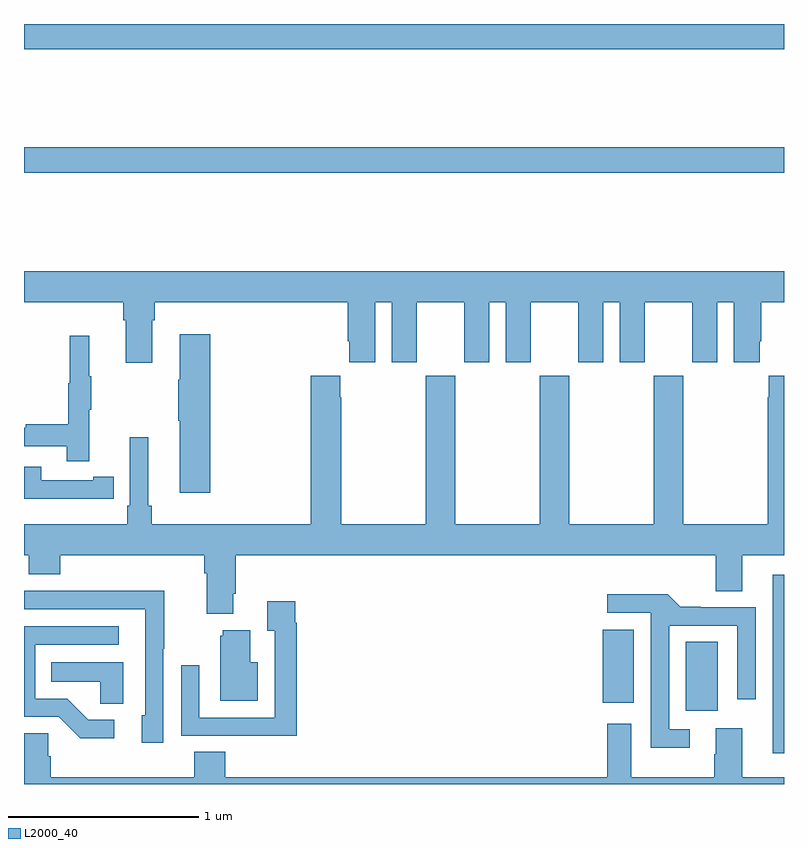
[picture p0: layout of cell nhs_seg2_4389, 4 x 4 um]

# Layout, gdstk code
import gdstk
lib = gdstk.Library(unit=1e-6, precision=1e-09)
def R(c, l, rs):  # rectangles x0, y0, x1, y1
    for r in rs: c.add(gdstk.rectangle(r[:2], r[2:], *l))
def P(c, l, *ps):  # polygons
    for p in ps: c.add(gdstk.Polygon(p, *l))
L2000_40 = (2000, 40)

nhs_seg2_4389 = lib.new_cell('nhs_seg2_4389')
R(nhs_seg2_4389, L2000_40, [(352.94,611.961,353,612.901), (352.484,612.186,352.651,612.548), (352.046,612.227,352.21,612.613), (349,615.016,353,615.152), (349,615.668,353,615.8)])
P(nhs_seg2_4389, L2000_40, [(349.675,614.24),(349.688,614.24),(349.688,614.336),(350.705,614.336),(350.705,614.131),(350.711,614.131),(350.711,614.019),(350.848,614.019),(350.848,614.336),(350.936,614.336),(350.936,614.019),(351.067,614.019),(351.067,614.336),(351.317,614.336),(351.317,614.019),(351.448,614.019),(351.448,614.336),(351.536,614.336),(351.536,614.019),(351.667,614.019),(351.667,614.336),(351.917,614.336),(351.917,614.019),(352.048,614.019),(352.048,614.336),(352.136,614.336),(352.136,614.019),(352.267,614.019),(352.267,614.336),(352.517,614.336),(352.517,614.019),(352.648,614.019),(352.648,614.336),(352.736,614.336),(352.736,614.019),(352.873,614.019),(352.873,614.131),(352.88,614.131),(352.88,614.336),(353,614.336),(353,614.5),(349,614.5),(349,614.336),(349.523,614.336),(349.523,614.24),(349.535,614.24),(349.535,614.016),(349.675,614.016)],
  [(349.979,614.167),(349.82,614.167),(349.82,613.928),(349.813,613.928),(349.813,613.711),(349.82,613.711),(349.82,613.332),(349.979,613.332)],
  [(349.343,613.771),(349.354,613.771),(349.354,613.945),(349.343,613.945),(349.343,614.158),(349.24,614.158),(349.24,613.908),(349.233,613.908),(349.233,613.694),(349.009,613.694),(349.009,613.674),(349,613.674),(349,613.578),(349.225,613.578),(349.225,613.5),(349.343,613.5)],
  [(350.101,612.802),(350.114,612.802),(350.114,613.004),(352.64,613.004),(352.64,612.814),(352.78,612.814),(352.78,613.004),(353,613.004),(353,613.948),(352.919,613.948),(352.919,613.835),(352.915,613.835),(352.915,613.168),(352.47,613.168),(352.47,613.948),(352.315,613.948),(352.315,613.168),(351.87,613.168),(351.87,613.948),(351.715,613.948),(351.715,613.168),(351.27,613.168),(351.27,613.948),(351.115,613.948),(351.115,613.168),(350.67,613.168),(350.67,613.835),(350.665,613.835),(350.665,613.948),(350.51,613.948),(350.51,613.168),(349.673,613.168),(349.673,613.264),(349.654,613.264),(349.654,613.624),(349.557,613.624),(349.557,613.264),(349.544,613.264),(349.544,613.168),(349,613.168),(349,613.004),(349.025,613.004),(349.025,612.905),(349.19,612.905),(349.19,613.004),(349.949,613.004),(349.949,612.908),(349.961,612.908),(349.961,612.695),(350.101,612.695)],
  [(349.364,613.302),(349.472,613.302),(349.472,613.418),(349.364,613.418),(349.364,613.398),(349.092,613.398),(349.092,613.47),(349,613.47),(349,613.301),(349.364,613.301)],
  [(349.734,612.511),(349.737,612.511),(349.737,612.818),(349.273,612.818),(349.273,612.816),(349,612.816),(349,612.72),(349.638,612.72),(349.638,612.162),(349.619,612.162),(349.619,612.018),(349.734,612.018)],
  [(352.504,612.087),(352.395,612.087),(352.395,612.633),(352.755,612.633),(352.755,612.246),(352.851,612.246),(352.851,612.729),(352.561,612.729),(352.561,612.734),(352.453,612.734),(352.388,612.8),(352.071,612.8),(352.071,612.702),(352.299,612.702),(352.299,611.99),(352.504,611.99)],
  [(350.435,612.65),(350.428,612.65),(350.428,612.763),(350.279,612.763),(350.279,612.607),(350.319,612.607),(350.319,612.15),(349.923,612.15),(349.923,612.424),(349.827,612.424),(349.827,612.054),(350.143,612.054),(350.143,612.053),(350.435,612.053)],
  [(349.474,612.138),(349.339,612.138),(349.228,612.249),(349.059,612.249),(349.059,612.534),(349.498,612.534),(349.498,612.63),(349,612.63),(349,612.153),(349.182,612.153),(349.295,612.041),(349.474,612.041)],
  [(350.23,612.442),(350.191,612.442),(350.191,612.61),(350.045,612.61),(350.045,612.579),(350.033,612.579),(350.033,612.239),(350.23,612.239)],
  [(349.522,612.442),(349.144,612.442),(349.144,612.338),(349.401,612.338),(349.401,612.223),(349.522,612.223)],
  [(353,611.836),(352.78,611.836),(352.78,612.094),(352.64,612.094),(352.64,611.957),(352.633,611.957),(352.633,611.836),(352.195,611.836),(352.195,612.118),(352.07,612.118),(352.07,611.836),(350.06,611.836),(350.06,611.969),(349.895,611.969),(349.895,611.836),(349.142,611.836),(349.142,611.945),(349.128,611.945),(349.128,612.068),(349,612.068),(349,611.8),(353,611.8)])

lib.write_gds('nhs_seg2_4389.gds')
